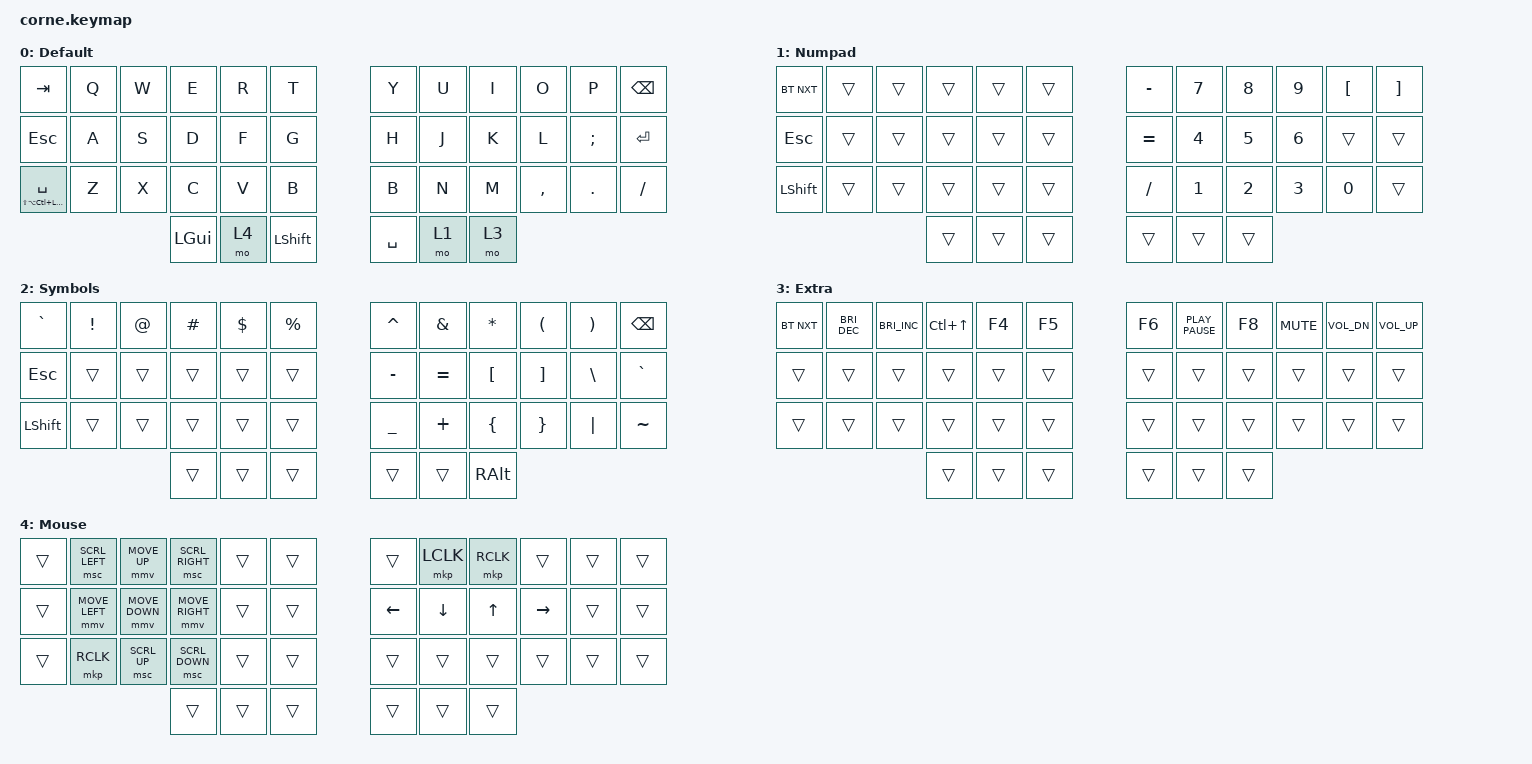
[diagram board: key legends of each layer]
/*
 * Copyright (c) 2020 The ZMK Contributors
 *
 * SPDX-License-Identifier: MIT
 */

#define ZMK_POINTING_DEFAULT_MOVE_VAL 1000  // default: 600

#include <behaviors.dtsi>
#include <dt-bindings/zmk/bt.h>
#include <dt-bindings/zmk/keys.h>
#include <dt-bindings/zmk/pointing.h>

/ {
    combos {
        compatible = "zmk,combos";

        CTRL_as {
            bindings = <&kp LEFT_CONTROL>;
            key-positions = <13 37>;
        };

        Shift_sd {
            bindings = <&kp LEFT_SHIFT>;
            key-positions = <14 37>;
        };

        CTRL_kl {
            bindings = <&kp RCTRL>;
            key-positions = <22 40>;
        };

        Shift_jk {
            bindings = <&kp RIGHT_SHIFT>;
            key-positions = <21 40>;
        };

        LGUI_df {
            bindings = <&kp LGUI>;
            key-positions = <37 16>;
        };

        RGUI_jk {
            bindings = <&kp RGUI>;
            key-positions = <19 40>;
        };

        symbols_combo {
            bindings = <&mo 2>;
            key-positions = <37 40>;
        };

        exclamation {
            bindings = <&kp EXCLAMATION>;
            key-positions = <1 13>;
            layers = <0>;
        };

        at {
            bindings = <&kp AT_SIGN>;
            key-positions = <2 14>;
            layers = <0>;
        };

        hash {
            bindings = <&kp HASH>;
            key-positions = <3 15>;
            layers = <0>;
        };

        dollar_sign {
            bindings = <&kp DOLLAR>;
            key-positions = <4 16>;
            layers = <0>;
        };

        percent {
            bindings = <&kp PERCENT>;
            key-positions = <5 17>;
            layers = <0>;
        };

        caret {
            bindings = <&kp CARET>;
            key-positions = <6 18>;
            layers = <0>;
        };

        ampersand {
            bindings = <&kp AMPERSAND>;
            key-positions = <7 19>;
            layers = <0>;
        };

        asterisk {
            bindings = <&kp ASTRK>;
            key-positions = <8 20>;
            layers = <0>;
        };

        leftparent {
            bindings = <&kp LEFT_PARENTHESIS>;
            key-positions = <9 21>;
            layers = <0>;
        };

        rightparent {
            bindings = <&kp RIGHT_PARENTHESIS>;
            key-positions = <10 22>;
            layers = <0>;
        };
    };

    keymap {
        compatible = "zmk,keymap";

        default_layer {
            display-name = "Default";

            // -----------------------------------------------------------------------------------------
            // |  TAB |  Q  |  W  |  E  |  R  |  T  |   |  Y  |  U   |  I  |  O  |  P  | BSPC |
            // | CTRL |  A  |  S  |  D  |  F  |  G  |   |  H  |  J   |  K  |  L  |  ;  |  '   |
            // | SHFT |  Z  |  X  |  C  |  V  |  B  |   |  N  |  M   |  ,  |  .  |  /  | ESC  |
            //                    | GUI | LWR | SPC |   | ENT | RSE  | ALT |

            bindings = <
&kp TAB                         &kp Q  &kp W  &kp E     &kp R  &kp T             &kp Y      &kp U  &kp I  &kp O      &kp P       &kp BSPC
&kp ESCAPE                      &kp A  &kp S  &kp D     &kp F  &kp G             &kp H      &kp J  &kp K  &kp L      &kp SEMI    &kp ENTER
&mt LS(LA(LC(LEFT_GUI))) SPACE  &kp Z  &kp X  &kp C     &kp V  &kp B             &kp B      &kp N  &kp M  &kp COMMA  &kp PERIOD  &kp SLASH
                                              &kp LGUI  &mo 4  &kp LEFT_SHIFT    &kp SPACE  &mo 1  &mo 3
            >;
        };

        Numpad {
            display-name = "Numpad";

            // -----------------------------------------------------------------------------------------
            // |  TAB |  1  |  2  |  3  |  4  |  5  |   |  6  |  7  |  8  |  9  |  0  | BSPC |
            // | BTCLR| BT1 | BT2 | BT3 | BT4 | BT5 |   | LFT | DWN |  UP | RGT |     |      |
            // | SHFT |     |     |     |     |     |   |     |     |     |     |     |      |
            //                    | GUI |     | SPC |   | ENT |     | ALT |

            bindings = <
&bt BT_NXT  &trans  &trans  &trans  &trans  &trans    &kp MINUS  &kp N7  &kp N8  &kp N9  &kp LEFT_BRACKET  &kp RIGHT_BRACKET
&kp ESC     &trans  &trans  &trans  &trans  &trans    &kp EQUAL  &kp N4  &kp N5  &kp N6  &trans            &trans
&kp LSHFT   &trans  &trans  &trans  &trans  &trans    &kp FSLH   &kp N1  &kp N2  &kp N3  &kp N0            &trans
                            &trans  &trans  &trans    &trans     &trans  &trans
            >;
        };

        symbols_layer {
            display-name = "Symbols";

            // -----------------------------------------------------------------------------------------
            // |  TAB |  !  |  @  |  #  |  $  |  %  |   |  ^  |  &  |  *  |  (  |  )  | BSPC |
            // | CTRL |     |     |     |     |     |   |  -  |  =  |  [  |  ]  |  \  |  `   |
            // | SHFT |     |     |     |     |     |   |  _  |  +  |  {  |  }  | "|" |  ~   |
            //                    | GUI |     | SPC |   | ENT |     | ALT |

            bindings = <
&kp GRAVE   &kp EXCL  &kp AT  &kp HASH  &kp DLLR  &kp PRCNT    &kp CARET  &kp AMPS   &kp ASTRK  &kp LPAR  &kp RPAR  &kp BSPC
&kp ESCAPE  &trans    &trans  &trans    &trans    &trans       &kp MINUS  &kp EQUAL  &kp LBKT   &kp RBKT  &kp BSLH  &kp GRAVE
&kp LSHFT   &trans    &trans  &trans    &trans    &trans       &kp UNDER  &kp PLUS   &kp LBRC   &kp RBRC  &kp PIPE  &kp TILDE
                              &trans    &trans    &trans       &trans     &trans     &kp RALT
            >;
        };

        Media {
            bindings = <
&bt BT_NXT  &kp C_BRI_DEC  &kp C_BRIGHTNESS_INC  &kp LC(UP_ARROW)  &kp F4  &kp F5    &kp F6  &kp K_PLAY_PAUSE  &kp F8  &kp C_MUTE  &kp C_VOL_DN  &kp C_VOLUME_UP
&trans      &trans         &trans                &trans            &trans  &trans    &trans  &trans            &trans  &trans      &trans        &trans
&trans      &trans         &trans                &trans            &trans  &trans    &trans  &trans            &trans  &trans      &trans        &trans
                                                 &trans            &trans  &trans    &trans  &trans            &trans
            >;

            label = "Extra";
        };

        mouse_mode {
            bindings = <
&trans  &msc SCRL_LEFT  &mmv MOVE_UP    &msc SCRL_RIGHT  &trans  &trans    &trans    &mkp LCLK  &mkp RCLK  &trans     &trans  &trans
&trans  &mmv MOVE_LEFT  &mmv MOVE_DOWN  &mmv MOVE_RIGHT  &trans  &trans    &kp LEFT  &kp DOWN   &kp UP     &kp RIGHT  &trans  &trans
&trans  &mkp RCLK       &msc SCRL_UP    &msc SCRL_DOWN   &trans  &trans    &trans    &trans     &trans     &trans     &trans  &trans
                                        &trans           &trans  &trans    &trans    &trans     &trans
            >;

            label = "Mouse";
        };
    };
};
